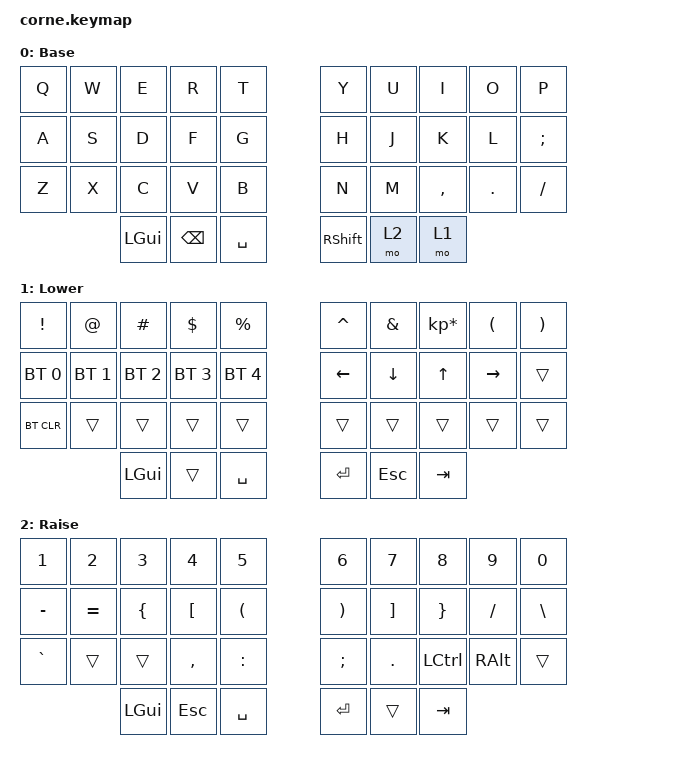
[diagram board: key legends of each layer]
/*
 * Copyright (c) 2020 The ZMK Contributors
 *
 * SPDX-License-Identifier: MIT
 */

#include <behaviors.dtsi>
#include <dt-bindings/zmk/bt.h>
#include <dt-bindings/zmk/keys.h>

//#define AS(keycode) &as LS(keycode) keycode

/ {
    chosen { zmk,physical-layout = &foostan_corne_5col_layout; };

    behaviors {
        //as: auto_shift {
        //compatible = "zmk,behavior-hold-tap";
        //#binding-cells = <2>;
        //tapping_term_ms = <200>;
        //quick_tap_ms = <0>;
        //flavor = "tap-preferred";
        //bindings = <&kp>, <&kp>;
        //};
    };

    combos {
        compatible = "zmk,combos";

        bkspc {
            bindings = <&kp BACKSPACE>;
            key-positions = <8 9>;
        };
        lh-tab{
            bindings = <&kp TAB>;
            key-positions = <0 1>;
        };
        rh-enter{
            bindings = <&kp ENTER>;
            key-positions = <16 17 18>;
        };
    };

    keymap {
        compatible = "zmk,keymap";

        default_layer {
            // -----------------------------------------------------------------------------------------
            // |  Q  |  W  |  E  |  R  |  T  |     |  Y  |  U   |  I   |  O   | P |
            // |  A  |  S  |  D  |  F  |  G  |     |  H  |  J   |  K   |  L   | ; | 
            // |  Z  |  X  |  C  |  V  |  B  |     |  N  |  M   | ,    | .    | / |
            //             | GUI | bspc | SPC |     | SHFT | RSE  | lwr |

            display-name = "Base";
            bindings = <
&kp Q   &kp W   &kp E   &kp R   &kp T           &kp Y   &kp U   &kp I       &kp O    &kp P    
&kp A   &kp S   &kp D   &kp F   &kp G           &kp H   &kp J   &kp K       &kp L    &kp SEMI  
&kp Z   &kp X   &kp C   &kp V   &kp B           &kp N   &kp M   &kp COMMA   &kp DOT  &kp SLASH    
&kp LGUI    &kp BSPC   &kp SPACE                         &kp RSHIFT  &mo 2  &mo 1
            >;
        };

        lower_layer {
            // -----------------------------------------------------------------------------------------
            // | !     |  @  |  #  |  $  |  %  |     |  ^  |  &  |  *  |  (  |  )  |
            // | BT1   | BT2 | BT3 | BT4 | BT5 |     | LFT | DWN |  UP | RGT |     |
            // | BTCLR |     |     |     |     |     |     |     |     |     |     |
            //               | GUI |     | SPC |     | ENT | ESC | TAB |

            display-name = "Lower";
            bindings = <
&kp EXCL      &kp AT        &kp HASH      &kp DLLR  &kp PRCNT  &kp CARET    &kp AMPS   &kp KP_MULTIPLY  &kp LPAR    &kp RPAR  &bt BT_SEL 0  &bt BT_SEL 1
&bt BT_SEL 2  &bt BT_SEL 3  &bt BT_SEL 4  &kp LEFT  &kp DOWN   &kp UP       &kp RIGHT  &trans           &bt BT_CLR  &trans    &trans        &trans
&trans        &trans        &trans        &trans    &trans     &trans       &kp LGUI   &trans           &kp SPACE   &kp RET   &kp ESC       &kp TAB
            >;
        };

        raise_layer {
            // -----------------------------------------------------------------------------------------
            // | 1! |  2@ |  3# |  4$ |  5% |     |  6^ |  7& |  8* |  9(  |  0)  |
            // | -_ |  =+ |  {  |  [  |  (  |     |  )  |  ]  |  }  |  /?  |  \|  |
            // | `~ |     |     |  ,< |  :  |     |  ;  |  .> | CTRL| META |      |
            //            | GUI | ESC | SPC |     | ENT |     | TAB |

            display-name = "Raise";
            bindings = <
&kp N1     &kp N2    &kp N3    &kp N4     &kp N5    &kp N6      &kp N7    &kp N8    &kp N9     &kp N0   &kp MINUS  &kp EQUAL
&kp LBRC   &kp LBKT  &kp LPAR  &kp RPAR   &kp RBKT  &kp RBRC    &kp FSLH  &kp BSLH  &kp GRAVE  &trans   &trans     &kp COMMA
&kp COLON  &kp SEMI  &kp DOT   &kp LCTRL  &kp RALT  &trans      &kp LGUI  &kp ESC   &kp SPACE  &kp RET  &trans     &kp TAB
            >;
        };

        extra_1 { status = "reserved"; };

        extra_2 { status = "reserved"; };

        extra_3 { status = "reserved"; };
    };
};
